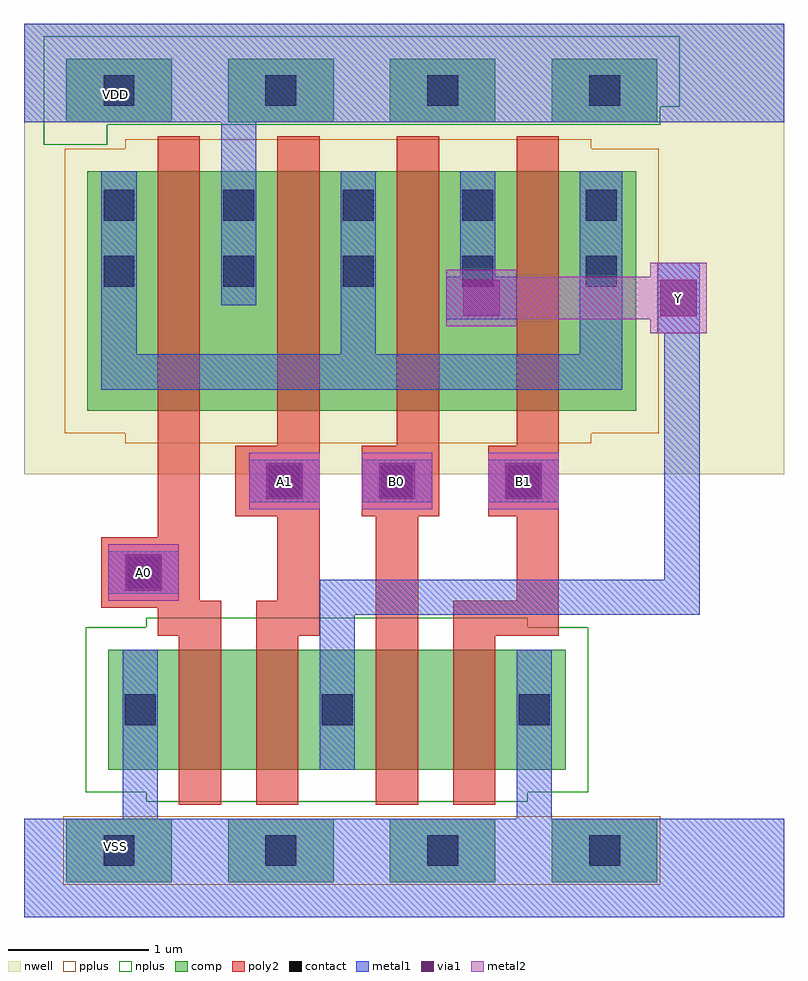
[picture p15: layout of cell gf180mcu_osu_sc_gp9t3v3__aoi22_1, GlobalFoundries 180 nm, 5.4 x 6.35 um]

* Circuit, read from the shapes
.subckt gf180mcu_osu_sc_gp9t3v3__aoi22_1 A0 A1 B0 B1 VDD VSS Y
XM1 n1 A0 VSS VSS nfet_03v3 w=0.85u l=0.3u
XM2 Y A1 n1 VSS nfet_03v3 w=0.85u l=0.3u
XM3 n2 B0 Y VSS nfet_03v3 w=0.85u l=0.3u
XM4 VSS B1 n2 VSS nfet_03v3 w=0.85u l=0.3u
XM5 VDD A0 n3 VDD pfet_03v3 w=1.7u l=0.3u
XM6 n3 A1 VDD VDD pfet_03v3 w=1.7u l=0.3u
XM7 Y B0 n3 VDD pfet_03v3 w=1.7u l=0.3u
XM8 n3 B1 Y VDD pfet_03v3 w=1.7u l=0.3u
.ends

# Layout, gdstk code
import gdstk
lib = gdstk.Library(unit=1e-6, precision=1e-09)
def R(c, l, rs):  # rectangles x0, y0, x1, y1
    for r in rs: c.add(gdstk.rectangle(r[:2], r[2:], *l))
def A(c, l, x, y, w, h, nx, ny, dx, dy):  # array of equal rectangles
    R(c, l, [(x+i*dx, y+j*dy, x+i*dx+w, y+j*dy+h) for i in range(nx) for j in range(ny)])
nwell = (21, 0)
comp = (22, 0)
poly2 = (30, 0)
pplus = (31, 0)
nplus = (32, 0)
contact = (33, 0)
metal1 = (34, 0)
via1 = (35, 0)
metal2 = (36, 0)

gf180mcu_osu_sc_gp9t3v3_ = lib.new_cell('gf180mcu_osu_sc_gp9t3v3__aoi22_1')
R(gf180mcu_osu_sc_gp9t3v3_, nwell, [(0,3.15,5.4,6.35)])
A(gf180mcu_osu_sc_gp9t3v3_, comp, 0.3, 0.25, 0.75, 0.45, 4, 2, 1.15, 5.4)
R(gf180mcu_osu_sc_gp9t3v3_, comp, [(0.6,1.05,3.85,1.9), (0.45,3.6,4.35,5.3)])
A(gf180mcu_osu_sc_gp9t3v3_, poly2, 1.8, 3.35, 0.3, 2.2, 3, 1, 0.85, 0)
R(gf180mcu_osu_sc_gp9t3v3_, poly2, [(1.1,0.8,1.4,2), (1.65,0.8,1.95,2), (2.5,0.8,2.8,2.85), (3.05,0.8,3.35,2), (0.95,2,1.4,2.2), (1.65,2,2.1,2.25), (3.05,2,3.8,2.25), (0.55,2.2,1.4,2.25), (0.55,2.25,1.25,2.7), (1.8,2.25,2.1,2.85), (3.5,2.25,3.8,2.85), (0.95,2.7,1.25,5.55), (1.5,2.85,2.1,3.35), (2.4,2.85,2.95,3.35), (3.3,2.85,3.8,3.35)])
R(gf180mcu_osu_sc_gp9t3v3_, pplus, [(0.28,0.23,4.52,0.72), (0.72,3.37,4.03,3.44), (0.29,3.44,4.51,5.46), (0.72,5.46,4.03,5.53)])
R(gf180mcu_osu_sc_gp9t3v3_, nplus, [(0.87,0.82,3.58,0.89), (0.44,0.89,4.01,2.06), (0.87,2.06,3.58,2.13), (0.14,5.49,0.59,5.63), (0.14,5.63,4.52,5.76), (0.14,5.76,4.66,6.26)])
A(gf180mcu_osu_sc_gp9t3v3_, contact, 0.565, 0.365, 0.22, 0.22, 4, 2, 1.15, 5.4)
A(gf180mcu_osu_sc_gp9t3v3_, contact, 0.715, 1.365, 0.22, 0.22, 3, 1, 1.4, 0)
A(gf180mcu_osu_sc_gp9t3v3_, contact, 0.565, 4.48, 0.22, 0.22, 4, 2, 0.85, 0.47)
R(gf180mcu_osu_sc_gp9t3v3_, contact, [(0.74,2.34,0.96,2.56), (1.74,2.99,1.96,3.21), (2.54,2.99,2.76,3.21), (3.44,2.99,3.66,3.21), (3.99,4.48,4.21,4.7), (3.99,4.95,4.21,5.17)])
R(gf180mcu_osu_sc_gp9t3v3_, metal1, [(0,0,5.4,0.7), (0.7,0.7,0.95,1.9), (3.5,0.7,3.75,1.9), (2.1,1.05,2.35,2.15), (2.1,2.15,4.8,2.4), (0.6,2.3,1.1,2.6), (4.55,2.4,4.8,4.15), (1.6,2.95,2.1,3.25), (2.4,2.95,2.9,3.25), (3.3,2.95,3.8,3.25), (0.55,3.75,4.25,4), (0.55,4,0.8,5.3), (2.25,4,2.5,5.3), (3.95,4,4.25,5.3), (4.5,4.15,4.8,4.65), (3,4.25,3.5,4.55), (1.4,4.35,1.65,5.65), (3.1,4.55,3.35,5.3), (0,5.65,5.4,6.35)])
R(gf180mcu_osu_sc_gp9t3v3_, via1, [(0.72,2.32,0.98,2.58), (1.72,2.97,1.98,3.23), (2.52,2.97,2.78,3.23), (3.42,2.97,3.68,3.23), (3.12,4.27,3.38,4.53), (4.52,4.27,4.78,4.53)])
R(gf180mcu_osu_sc_gp9t3v3_, metal2, [(0.6,2.25,1.1,2.65), (1.6,2.9,2.1,3.3), (2.4,2.9,2.9,3.3), (3.3,2.9,3.8,3.3), (4.45,4.15,4.85,4.25), (3,4.2,3.5,4.25), (3,4.25,4.85,4.55), (3,4.55,3.5,4.6), (4.45,4.55,4.85,4.65)])
gf180mcu_osu_sc_gp9t3v3_.add(gdstk.Label('VDD', (0.65,5.85), layer=34, texttype=10))
gf180mcu_osu_sc_gp9t3v3_.add(gdstk.Label('VSS', (0.65,0.5), layer=34, texttype=10))
gf180mcu_osu_sc_gp9t3v3_.add(gdstk.Label('A0', (0.85,2.45), layer=36, texttype=10))
gf180mcu_osu_sc_gp9t3v3_.add(gdstk.Label('A1', (1.85,3.1), layer=36, texttype=10))
gf180mcu_osu_sc_gp9t3v3_.add(gdstk.Label('B0', (2.65,3.1), layer=36, texttype=10))
gf180mcu_osu_sc_gp9t3v3_.add(gdstk.Label('B1', (3.55,3.1), layer=36, texttype=10))
gf180mcu_osu_sc_gp9t3v3_.add(gdstk.Label('Y', (4.65,4.4), layer=36, texttype=10))

lib.write_gds('gf180mcu_osu_sc_gp9t3v3__aoi22_1.gds')
